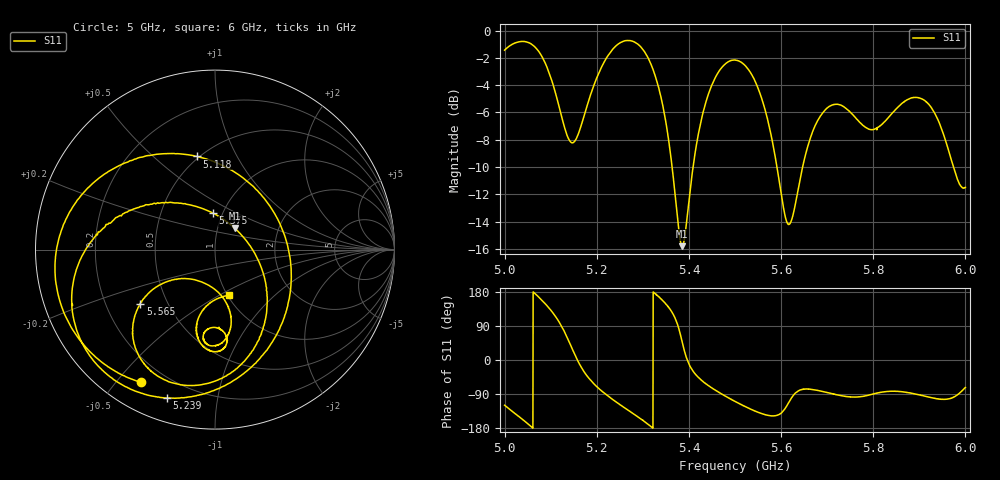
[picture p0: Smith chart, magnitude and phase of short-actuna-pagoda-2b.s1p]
# HZ S RI R 50
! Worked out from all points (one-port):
!   2020 points, 5 GHz to 6 GHz, reference 50 ohm
!   lowest |S11| = -15.8 dB at 5.385 GHz (marker M1), VSWR 1.39, Z = 60.2 + j14.9 ohm
!   |S11| at or under -10 dB: 5.364 GHz to 5.409 GHz (45.45 MHz wide, 0.844 % of centre); 5.591 GHz to 5.647 GHz (55.69 MHz wide, 0.991 % of centre); 5.974132 GHz to end of sweep
!   S11 on the Smith chart (normalised r, x): 5 GHz: 0.11, -0.58; 5.118 GHz: 0.49, +0.70; 5.239 GHz: 0.11, -0.72; 5.375 GHz: 0.90, +0.38; 5.565 GHz: 0.35, -0.29; 6 GHz: 1.02, -0.56
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5e9  -0.415 -0.7387
5.035166e9  -0.8134 -0.4111
5.061912e9  -0.8824 0.0048
5.093611e9  -0.5619 0.4536
5.11788e9  -0.1017 0.5191
5.12531e9  0.0378 0.4715
5.149579e9  0.3614 0.1448
5.172858e9  0.4157 -0.2579
5.207033e9  0.1484 -0.699
5.238732e9  -0.2663 -0.8268
5.250124e9  -0.4201 -0.7961
5.282813e9  -0.7391 -0.5236
5.310055e9  -0.7856 -0.1599
5.346211e9  -0.4455 0.229
5.375434e9  -0.0119 0.2033
5.38534e9  0.109 0.1203
5.431402e9  0.2699 -0.4286
5.466568e9  0.0441 -0.7128
5.500248e9  -0.2591 -0.736
5.534423e9  -0.4472 -0.5355
5.565132e9  -0.4158 -0.3018
5.609708e9  -0.1216 -0.1661
5.625062e9  -0.0213 -0.2072
5.68004e9  0.0767 -0.4634
5.750372e9  -0.0618 -0.4976
5.875186e9  0.0394 -0.5579
5.946509e9  -0.1051 -0.4319
6.000001e9  0.0808 -0.2541
